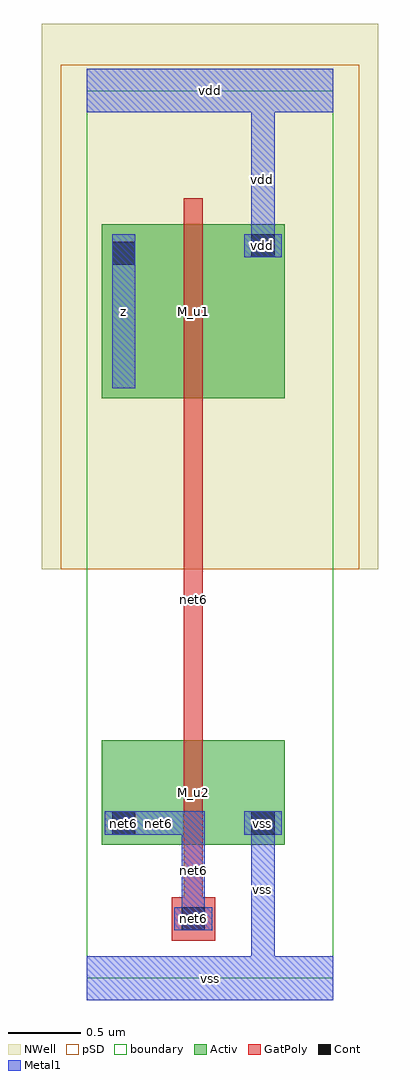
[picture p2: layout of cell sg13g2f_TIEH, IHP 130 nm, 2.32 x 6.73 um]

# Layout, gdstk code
import gdstk
lib = gdstk.Library(unit=1e-6, precision=1e-09)
def R(c, l, rs):  # rectangles x0, y0, x1, y1
    for r in rs: c.add(gdstk.rectangle(r[:2], r[2:], *l))
Activ = (1, 0)
GatPoly = (5, 0)
Cont = (6, 0)
Metal1 = (8, 0)
pSD = (14, 0)
NWell = (31, 0)
TEXT = (63, 0)
boundary = (189, 4)

sg13g2f_tieh = lib.new_cell('sg13g2f_TIEH')
R(sg13g2f_tieh, Activ, [(0.105,0.92,1.365,1.64), (0.105,0.92,0.405,1.22), (1.065,0.92,1.365,1.22), (0.105,4,1.365,5.2), (0.105,4.85,0.405,5.15), (1.065,4.9,1.365,5.2)])
R(sg13g2f_tieh, GatPoly, [(0.585,0.26,0.885,0.56), (0.67,0.345,0.8,1.135), (0.67,0.74,0.8,1.82), (0.67,1.005,0.8,4.215), (0.67,1.005,0.8,1.555), (0.67,3.82,0.8,5.38)])
R(sg13g2f_tieh, Cont, [(0.655,0.33,0.815,0.49), (0.175,0.99,0.335,1.15), (1.135,0.99,1.295,1.15), (0.175,4.92,0.335,5.08), (1.135,4.97,1.295,5.13)])
R(sg13g2f_tieh, Metal1, [(0,-0.15,1.7,0.15), (1.135,0.07,1.295,1.15), (0.605,0.33,0.865,0.49), (0.655,0.33,0.815,1.15), (0.125,0.99,0.385,1.15), (0.175,0.99,0.815,1.15), (1.085,0.99,1.345,1.15), (0.175,4.07,0.335,5.13), (0.175,4.87,0.335,5.13), (1.085,4.97,1.345,5.13), (1.135,4.97,1.295,6.05), (0,5.97,1.7,6.27)])
R(sg13g2f_tieh, pSD, [(-0.18,2.82,1.88,5.94), (-0.18,5.94,1.88,6.3)])
R(sg13g2f_tieh, NWell, [(-0.31,2.82,2.01,6.58)])
R(sg13g2f_tieh, boundary, [(0,0,1.7,6.12)])
sg13g2f_tieh.add(gdstk.FlexPath([(0.105,0.41),(1.365,0.41)], 0, ends="flush", simple_path=True, layer=63, datatype=0))  # TEXT
sg13g2f_tieh.add(gdstk.FlexPath([(0.105,1.07),(1.365,1.07)], 0, ends="flush", simple_path=True, layer=63, datatype=0))  # TEXT
sg13g2f_tieh.add(gdstk.FlexPath([(0.105,1.49),(1.365,1.49)], 0, ends="flush", simple_path=True, layer=63, datatype=0))  # TEXT
sg13g2f_tieh.add(gdstk.FlexPath([(0.105,2.15),(1.365,2.15)], 0, ends="flush", simple_path=True, layer=63, datatype=0))  # TEXT
sg13g2f_tieh.add(gdstk.FlexPath([(0.105,2.63),(1.365,2.63)], 0, ends="flush", simple_path=True, layer=63, datatype=0))  # TEXT
sg13g2f_tieh.add(gdstk.FlexPath([(0.105,3.11),(1.365,3.11)], 0, ends="flush", simple_path=True, layer=63, datatype=0))  # TEXT
sg13g2f_tieh.add(gdstk.FlexPath([(0.105,4.15),(1.365,4.15)], 0, ends="flush", simple_path=True, layer=63, datatype=0))  # TEXT
sg13g2f_tieh.add(gdstk.FlexPath([(0.105,4.71),(1.365,4.71)], 0, ends="flush", simple_path=True, layer=63, datatype=0))  # TEXT
sg13g2f_tieh.add(gdstk.FlexPath([(0.105,5.05),(1.365,5.05)], 0, ends="flush", simple_path=True, layer=63, datatype=0))  # TEXT
sg13g2f_tieh.add(gdstk.FlexPath([(0.105,5.71),(1.365,5.71)], 0, ends="flush", simple_path=True, layer=63, datatype=0))  # TEXT
sg13g2f_tieh.add(gdstk.FlexPath([(0.255,0.07),(0.255,6.05)], 0, ends="flush", simple_path=True, layer=63, datatype=0))  # TEXT
sg13g2f_tieh.add(gdstk.FlexPath([(0.735,0.07),(0.735,6.05)], 0, ends="flush", simple_path=True, layer=63, datatype=0))  # TEXT
sg13g2f_tieh.add(gdstk.FlexPath([(1.215,0.07),(1.215,6.05)], 0, ends="flush", simple_path=True, layer=63, datatype=0))  # TEXT
sg13g2f_tieh.add(gdstk.Label('net6', (0.255,1.07), layer=6, texttype=0))
sg13g2f_tieh.add(gdstk.Label('net6', (0.735,0.41), layer=6, texttype=0))
sg13g2f_tieh.add(gdstk.Label('vss', (1.215,1.07), layer=6, texttype=0))
sg13g2f_tieh.add(gdstk.Label('vdd', (1.215,5.05), layer=6, texttype=0))
sg13g2f_tieh.add(gdstk.Label('net6', (0.255,1.07), layer=8, texttype=0))
sg13g2f_tieh.add(gdstk.Label('net6', (0.495,1.07), layer=8, texttype=0))
sg13g2f_tieh.add(gdstk.Label('net6', (0.735,0.74), layer=8, texttype=0))
sg13g2f_tieh.add(gdstk.Label('net6', (0.735,0.41), layer=8, texttype=0))
sg13g2f_tieh.add(gdstk.Label('vss', (1.215,1.07), layer=8, texttype=0))
sg13g2f_tieh.add(gdstk.Label('vss', (1.215,0.61), layer=8, texttype=0))
sg13g2f_tieh.add(gdstk.Label('vdd', (1.215,5.05), layer=8, texttype=0))
sg13g2f_tieh.add(gdstk.Label('vdd', (1.215,5.51), layer=8, texttype=0))
sg13g2f_tieh.add(gdstk.Label('z', (0.255,4.6), layer=8, texttype=2))
sg13g2f_tieh.add(gdstk.Label('vss', (0.85,0), layer=8, texttype=2))
sg13g2f_tieh.add(gdstk.Label('vdd', (0.85,6.12), layer=8, texttype=2))
sg13g2f_tieh.add(gdstk.Label('z', (0.255,4.6), layer=8, texttype=2))
sg13g2f_tieh.add(gdstk.Label('vss', (0.85,0), layer=8, texttype=2))
sg13g2f_tieh.add(gdstk.Label('vdd', (0.85,6.12), layer=8, texttype=2))
sg13g2f_tieh.add(gdstk.Label('M_u2', (0.735,1.28), layer=1, texttype=0))
sg13g2f_tieh.add(gdstk.Label('M_u1', (0.735,4.6), layer=1, texttype=0))
sg13g2f_tieh.add(gdstk.Label('net6', (0.255,1.07), layer=1, texttype=0))
sg13g2f_tieh.add(gdstk.Label('vss', (1.215,1.07), layer=1, texttype=0))
sg13g2f_tieh.add(gdstk.Label('vdd', (1.215,5.05), layer=1, texttype=0))
sg13g2f_tieh.add(gdstk.Label('z', (0.255,4.6), layer=8, texttype=25))
sg13g2f_tieh.add(gdstk.Label('vss', (0.85,0), layer=8, texttype=25))
sg13g2f_tieh.add(gdstk.Label('vdd', (0.85,6.12), layer=8, texttype=25))
sg13g2f_tieh.add(gdstk.Label('net6', (0.735,0.41), layer=5, texttype=0))
sg13g2f_tieh.add(gdstk.Label('net6', (0.735,0.74), layer=5, texttype=0))
sg13g2f_tieh.add(gdstk.Label('net6', (0.735,2.61), layer=5, texttype=0))
sg13g2f_tieh.add(gdstk.Label('net6', (0.735,1.28), layer=5, texttype=0))

lib.write_gds('sg13g2f_TIEH.gds')
